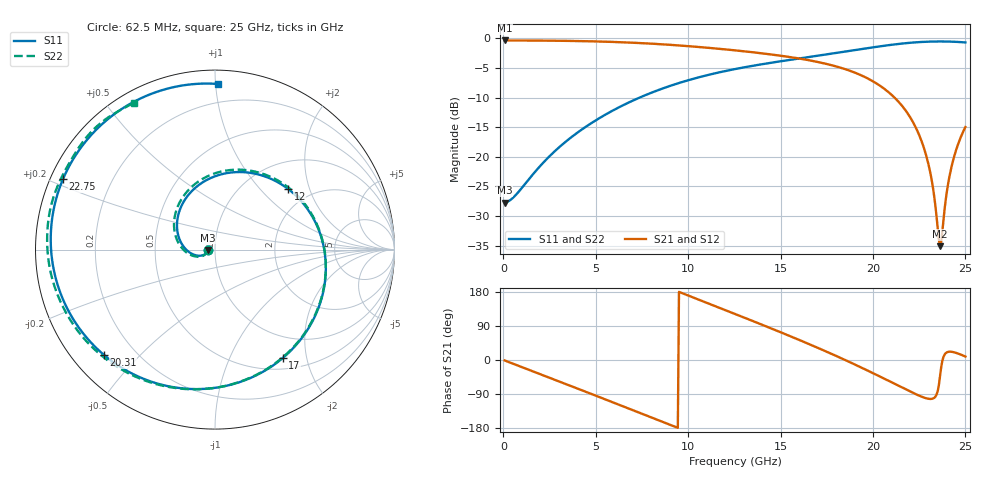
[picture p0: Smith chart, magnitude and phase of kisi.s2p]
! BV_vna_rf_hblb1_q070f25s: /Attenuator Amp Switches/RF_HBLB_PORT1 via F.Cu→In2.Cu at (144.901, 131.654)
! stackup: VNA from the board file and its kisi.json
! ports: 1 in, 2 out
! kisi-fdtd, conformal, dfine 0.07 mm, 393984 cells
# Hz S RI R 50
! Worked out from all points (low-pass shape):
!   400 points, 62.5 MHz to 25 GHz, reference 50 ohm
!   highest |S21| = -0.36 dB at 62.5 MHz (marker M1); lowest = -35.1 dB at 23.62 GHz (marker M2)
!   |S21| within 3 dB of the highest: start of sweep to 15.91 GHz
!   lowest |S11| = -27.7 dB at 62.5 MHz (marker M3), VSWR 1.09, Z = 46.1 - j0.131 ohm
!   |S11| at or under -10 dB: start of sweep to 7.372 GHz
!   |S22| runs from -27.7 to -0.4 dB; largest |S21 - S12| = 0.0026
!   S11 on the Smith chart (normalised r, x): 62.5 MHz: 0.92, -0.00; 12 GHz: 1.54, +1.45; 17 GHz: 0.65, -1.60; 20.31 GHz: 0.09, -0.39; 22.75 GHz: 0.04, +0.22; 25 GHz: 0.08, +1.02
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6.25e7  -0.0411 -0.00142  0.9589 -0.0196  0.9587 -0.0196  -0.0413 -0.0014
1.9375e9  -0.075 -0.0331  0.771 -0.5666  0.7709 -0.5668  -0.0731 -0.0368
3.125e9  -0.1217 -0.0268  0.4955 -0.8141  0.4955 -0.814  -0.1191 -0.036
4.25e9  -0.17 0.0102  0.1657 -0.9322  0.1656 -0.9323  -0.1703 -0.00631
6.125e9  -0.2117 0.1433  -0.4017 -0.8384  -0.4016 -0.8385  -0.2274 0.1181
8.375e9  -0.1017 0.3511  -0.8331 -0.3254  -0.8331 -0.3254  -0.1418 0.3382
1.0125e10  0.1212 0.4319  -0.8365 0.1811  -0.8364 0.1811  0.0782 0.4426
1.2e10  0.4067 0.3384  -0.5374 0.6014  -0.5374 0.6014  0.382 0.3656
1.25625e10  0.4808 0.2698  -0.4064 0.6779  -0.4064 0.678  0.4633 0.2971
1.45625e10  0.6175 -0.0941  0.1022 0.7208  0.1022 0.7209  0.617 -0.0817
1.66875e10  0.4368 -0.5478  0.5031 0.4056  0.503 0.4057  0.4308 -0.5499
1.7e10  0.3769 -0.6046  0.5338 0.3378  0.5338 0.338  0.3701 -0.6064
1.88125e10  -0.1224 -0.777  0.5237 -0.0662  0.5235 -0.0662  -0.1135 -0.7785
2.03125e10  -0.6199 -0.5857  0.2998 -0.2712  0.2999 -0.2714  -0.576 -0.6327
2.0875e10  -0.7719 -0.4156  0.1961 -0.2869  0.1957 -0.2871  -0.7246 -0.5012
2.1875e10  -0.913 -0.0054  0.0407 -0.2289  0.0408 -0.2286  -0.9019 -0.1799
2.275e10  -0.8459 0.3949  -0.0186 -0.1181  -0.0185 -0.1191  -0.9297 0.1532
2.325e10  -0.7225 0.6002  -0.0109 -0.0531  -0.0121 -0.053  -0.8821 0.3415
2.3625e10  -0.5949 0.7285  0.0126 -0.0123  0.0121 -0.0113  -0.8211 0.4662
2.39375e10  -0.4702 0.8136  0.0414 0.0135  0.0417 0.0147  -0.762 0.5635
2.41875e10  -0.3614 0.8653  0.0692 0.0279  0.0703 0.0289  -0.7038 0.6403
2.5e10  0.0178 0.9228  0.1762 0.0281  0.1755 0.0257  -0.454 0.8164
